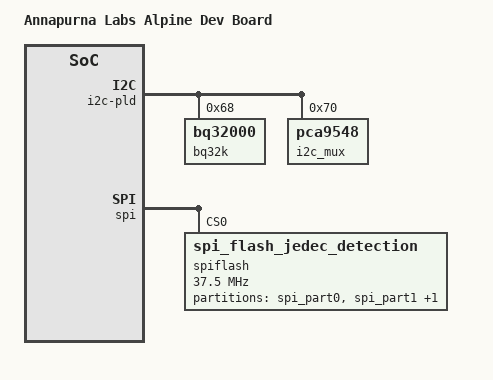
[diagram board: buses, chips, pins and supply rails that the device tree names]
/*
 * Copyright 2013 Annapurna Labs Ltd.
 *
 * This program is free software; you can redistribute it and/or modify it
 * under the terms and conditions of the GNU General Public License,
 * version 2, as published by the Free Software Foundation.
 *
 * This program is distributed in the hope it will be useful, but WITHOUT
 * ANY WARRANTY; without even the implied warranty of MERCHANTABILITY or
 * FITNESS FOR A PARTICULAR PURPOSE.  See the GNU General Public License for
 * more details.
 *
 * You should have received a copy of the GNU General Public License along with
 * this program.  If not, see <http://www.gnu.org/licenses/>.
 */

/dts-v1/;

/include/ "alpine.dtsi"

/ {
	version = "2.5";
	model = "Annapurna Labs Alpine Dev Board";

	hypervisor {
	};

	soc {
		board-cfg {
			id = "alpine_db (2xSATA)";

			/* U-Boot offset in boot source [bytes] */
			u-boot-offset = <0x20000>;

			/*
			 * Some of the PBS bus controllers have dedicated pins,
			 * however most of the pins are Multi-usage I/Os (MUIO),
			 * thus enabling flexible usage.
			 * Refer to the specific chip datasheet for further details.
			 *
			 * Choose which interfaces are to be multiplexed:
			 * - &if_nand_8 - NAND
			 * - &if_nand_cs_0, ..., &if_nand_cs_3 - NAND CS 0..3
			 * - &if_nand_wp - NAND WP
			 * - &if_sata_0_leds, &if_sata_1_leds - SATA leds
			 * - &if_eth_leds - Ethernet leds
			 * - &if_uart_1, ..., &if_uart_3 - UART 1..3
			 * - &if_i2c_gen - secondary I2C conrtoller
			 * - &if_ulpi_0_rst_n - ULPI reset
			 * - &if_pci_ep_int_a - PCIe EP interrupt
			 * - &if_pci_ep_reset_out - PCIe EP reset out
			 * - &if_spim_a_ss_1, ..., &if_spim_a_ss_3 - SPI CS 1..3
			 */
			pinctrl_init {
				pinctrl-0 = <
					&if_nand_8
					&if_nand_cs_0
					&if_sata_1_leds
					&if_eth_leds
					&if_uart_1>;
			};

			/*
			 * Initial GPIO configuration - which pins are input,
			 * which are output, and what is the initial value for
			 * output pins.
			 * By default, GPIO pins that are not listed below are
			 * input pins.
			 * GPIO pins which are listed below are automatically
			 * multiplexed and should not conflict with the
			 * multiplexed interfaces listed in 'pinctrl_init'
			 * above.
			 */
			gpio_init {
				/* <
				 * GPIO num 1, is output, output value
				 * GPIO num 2, is output, output value
				 * ...
				 * GPIO num N, is output, output value
				 * >
				 */
				gpio-list = <
					/* Inputs */
					0 0 0 /* UART 1,2,3 module inserted */
					32 0 0 /* PCIE0 present */
					33 0 0 /* PCIE1_present */
					34 0 0 /* PCIE2SATA not present */
					35 0 0 /* SFP 0,1 absent */
					36 0 0 /* SFP 2,3 absent */
					37 0 0 /* External ETH PHY interrupt */

					/* Outputs */
					1 1 0 /* Debug led 0 */
					2 1 1 /* Debug led 1 */
					3 1 1 /* ULPI 0 RST_N */
					5 1 0 /* Preloader EEPROM enable */
					38 1 1 /* PCI RSTN */
					39 1 1 /* SFP ON */
					40 1 0 /* External ETH PHY A reset */
					41 1 0 /* External ETH PHY B reset */
					42 1 1 /* VDD DRAM 1: 1.5V, 0: 1.35V */
					43 1 0 /* VTT OFF */
				>;
			};

			/* SerDes initialization configuration */
			serdes {
				/*
				 * 'ref-clock' can be any of the following:
				 * - "100Mhz-internal" - 100 Mhz internal clock
				 * - "100Mhz" - 100 Mhz on-board clock
				 * - "156.25Mhz" - 156.25 Mhz on-board clock
				 * - "right" - Clock is routed from right group
				 *             - assuming the right group has
				 *               on-board clock
				 *             - assuming 3 <> 2 <> 1 <> 0
				 * - "left" - Clock is routed from left group
				 *            - assuming the left group has
				 *              on-board clock
				 *            - assuming 3 <> 2 <> 1 <> 0
				 *
				 * 'active-lanes' selects which lanes are active
				 * e.g. <0 1 2 3>, <0 1>, etc.
				 *
				 * 'inv-tx-lanes' selects which lanes have their
				 * Tx polarity inverted (+/-)
				 * e.g. <0 1 2 3>, <0 1>, etc.
				 *
				 * 'inv-rx-lanes' selects which lanes have their
				 * Rx polarity inverted (+/-)
				 * e.g. <0 1 2 3>, <0 1>, etc.
				 *
				 * 'ssc' - SSC (spread spectrum clock)
				 * - "enabled" or "disabled"
				 * - Relevant only for 'interface' = 'sata'
				 *
				 * group 0:
				 * 'interface' can be any of the following:
				 * - "off" - no interface on this group
				 * - "off_bp" - no interface on this group, but
				 *              r2l/l2r clocks are bypassed
				 * - "pcie_g2x2_usb" - PCIe gen 2 x2 + USB
				 * - "pcie_g2x2_pcie_g2x2" - 2xPCIe gen 2 x2
				 * - "pcie_g3x4" - PCIe gen 3 x4
				 *
				 * group 1:
				 * 'interface' can be any of the following:
				 * - "off" - no interface on this group
				 * - "off_bp" - no interface on this group, but
				 *              r2l/l2r clocks are bypassed
				 * - "pcie_g3x4" - PCIe gen 3 x4
				 * - "sata" - SATA (up to 4 ports)
				 *
				 * group 2:
				 * 'interface' can be any of the following:
				 * - "off" - no interface on this group
				 * - "off_bp" - no interface on this group, but
				 *              r2l/l2r clocks are bypassed
				 * - "pcie_g3x4" - PCIe gen 3 x4
				 * - "sata" - SATA (up to 4 ports)
				 *
				 * group 3:
				 * 'interface' can be any of the following:
				 * - "off" - no interface on this group
				 * - "off_bp" - no interface on this group, but
				 *              r2l/l2r clocks are bypassed
				 * - "pcie_g2x2_usb" - PCIe gen 2 x2 + USB
				 * - "sgmii" - SGMII (up to 4 ports)
				 * - "sgmii-2.5g" - SGMII 2.5G (up to 4 ports)
				 * - "10gbe" - 10GbE (up to 4 ports)
				 */

				group0 {
					interface = "pcie_g3x4";
					ref-clock = "100Mhz";
					active-lanes = <0 1 2 3>;
					inv-tx-lanes = <>;
					inv-rx-lanes = <>;
					ssc = "disabled";

					lane_0_params {
						rx { override = "disabled"; };
						tx { override = "disabled"; };
					};
					lane_1_params {
						rx { override = "disabled"; };
						tx { override = "disabled"; };
					};
					lane_2_params {
						rx { override = "disabled"; };
						tx { override = "disabled"; };
					};
					lane_3_params {
						rx { override = "disabled"; };
						tx { override = "disabled"; };
					};
				};

				group1 {
					interface = "sata";
					ref-clock = "100Mhz";
					active-lanes = <0 1 2 3>;
					inv-tx-lanes = <>;
					inv-rx-lanes = <>;
					ssc = "disabled";

					lane_0_params {
						rx {
							override = "enabled";
							dcgain = <0x0>;
							dfe_3db_freq = <0x7>;
							dfe_gain = <0x0>;
							dfe_1st_tap_ctrl = <0x0>;
							dfe_2nd_tap_ctrl = <0x8>;
							dfe_3rd_tap_ctrl = <0x0>;
							dfe_4th_tap_ctrl = <0x8>;
							low_freq_agc_gain = <0x7>;
							high_freq_agc_boost = <0x0>;
							precal_code_sel = <0x0>;
						};
						tx {
							override = "enabled";
							amp = <1>;
							total_driver_units = <19>;
							post_emph = <2>;
							pre_emph = <0>;
							slew_rate = <0>;
						};
					};
					lane_1_params {
						rx {
							override = "enabled";
							dcgain = <0x0>;
							dfe_3db_freq = <0x7>;
							dfe_gain = <0x0>;
							dfe_1st_tap_ctrl = <0x0>;
							dfe_2nd_tap_ctrl = <0x8>;
							dfe_3rd_tap_ctrl = <0x0>;
							dfe_4th_tap_ctrl = <0x8>;
							low_freq_agc_gain = <0x7>;
							high_freq_agc_boost = <0x0>;
							precal_code_sel = <0x0>;
						};
						tx {
							override = "enabled";
							amp = <1>;
							total_driver_units = <19>;
							post_emph = <2>;
							pre_emph = <0>;
							slew_rate = <0>;
						};
					};
					lane_2_params {
						rx {
							override = "enabled";
							dcgain = <0x0>;
							dfe_3db_freq = <0x7>;
							dfe_gain = <0x0>;
							dfe_1st_tap_ctrl = <0x0>;
							dfe_2nd_tap_ctrl = <0x8>;
							dfe_3rd_tap_ctrl = <0x0>;
							dfe_4th_tap_ctrl = <0x8>;
							low_freq_agc_gain = <0x7>;
							high_freq_agc_boost = <0x0>;
							precal_code_sel = <0x0>;
						};
						tx {
							override = "enabled";
							amp = <1>;
							total_driver_units = <19>;
							post_emph = <2>;
							pre_emph = <0>;
							slew_rate = <0>;
						};
					};
					lane_3_params {
						rx {
							override = "enabled";
							dcgain = <0x0>;
							dfe_3db_freq = <0x7>;
							dfe_gain = <0x0>;
							dfe_1st_tap_ctrl = <0x0>;
							dfe_2nd_tap_ctrl = <0x8>;
							dfe_3rd_tap_ctrl = <0x0>;
							dfe_4th_tap_ctrl = <0x8>;
							low_freq_agc_gain = <0x7>;
							high_freq_agc_boost = <0x0>;
							precal_code_sel = <0x0>;
						};
						tx {
							override = "enabled";
							amp = <1>;
							total_driver_units = <19>;
							post_emph = <2>;
							pre_emph = <0>;
							slew_rate = <0>;
						};
					};
				};

				group2 {
					interface = "sata";
					ref-clock = "100Mhz";
					active-lanes = <0 1 2 3>;
					inv-tx-lanes = <>;
					inv-rx-lanes = <>;
					ssc = "disabled";

					lane_0_params {
						rx {
							override = "enabled";
							dcgain = <0x0>;
							dfe_3db_freq = <0x7>;
							dfe_gain = <0x0>;
							dfe_1st_tap_ctrl = <0x0>;
							dfe_2nd_tap_ctrl = <0x8>;
							dfe_3rd_tap_ctrl = <0x0>;
							dfe_4th_tap_ctrl = <0x8>;
							low_freq_agc_gain = <0x7>;
							high_freq_agc_boost = <0x0>;
							precal_code_sel = <0x0>;
						};

						tx {
							override = "enabled";
							amp = <1>;
							total_driver_units = <19>;
							post_emph = <2>;
							pre_emph = <0>;
							slew_rate = <0>;
						};
					};
					lane_1_params {
						rx {
							override = "enabled";
							dcgain = <0x0>;
							dfe_3db_freq = <0x7>;
							dfe_gain = <0x0>;
							dfe_1st_tap_ctrl = <0x0>;
							dfe_2nd_tap_ctrl = <0x8>;
							dfe_3rd_tap_ctrl = <0x0>;
							dfe_4th_tap_ctrl = <0x8>;
							low_freq_agc_gain = <0x7>;
							high_freq_agc_boost = <0x0>;
							precal_code_sel = <0x0>;
						};

						tx {
							override = "enabled";
							amp = <1>;
							total_driver_units = <19>;
							post_emph = <2>;
							pre_emph = <0>;
							slew_rate = <0>;
						};
					};
					lane_2_params {
						rx {
							override = "enabled";
							dcgain = <0x0>;
							dfe_3db_freq = <0x7>;
							dfe_gain = <0x0>;
							dfe_1st_tap_ctrl = <0x0>;
							dfe_2nd_tap_ctrl = <0x8>;
							dfe_3rd_tap_ctrl = <0x0>;
							dfe_4th_tap_ctrl = <0x8>;
							low_freq_agc_gain = <0x7>;
							high_freq_agc_boost = <0x0>;
							precal_code_sel = <0x0>;
						};

						tx {
							override = "enabled";
							amp = <1>;
							total_driver_units = <19>;
							post_emph = <2>;
							pre_emph = <0>;
							slew_rate = <0>;
						};
					};
					lane_3_params {
						rx {
							override = "enabled";
							dcgain = <0x0>;
							dfe_3db_freq = <0x7>;
							dfe_gain = <0x0>;
							dfe_1st_tap_ctrl = <0x0>;
							dfe_2nd_tap_ctrl = <0x8>;
							dfe_3rd_tap_ctrl = <0x0>;
							dfe_4th_tap_ctrl = <0x8>;
							low_freq_agc_gain = <0x7>;
							high_freq_agc_boost = <0x0>;
							precal_code_sel = <0x0>;
						};

						tx {
							override = "enabled";
							amp = <1>;
							total_driver_units = <19>;
							post_emph = <2>;
							pre_emph = <0>;
							slew_rate = <0>;
						};
					};
				};

				group3 {
					interface = "10gbe";
					ref-clock = "156.25Mhz";
					active-lanes = <1 3>;
					inv-tx-lanes = <>;
					inv-rx-lanes = <>;
					ssc = "disabled";

					lane_0_params {
						rx { override = "disabled"; };
						tx { override = "disabled"; };
					};
					lane_1_params {
						rx { override = "disabled"; };
						tx { override = "disabled"; };
					};
					lane_2_params {
						rx { override = "disabled"; };
						tx { override = "disabled"; };
					};
					lane_3_params {
						rx { override = "disabled"; };
						tx { override = "disabled"; };
					};
				};
			};

			/* Ethernet port configuration */
			ethernet {
				port0 {
					status = "enabled";

					/*
					 * MAC mode (rgmii, sgmii, sgmii-2.5g, 1g-serial, 10g-serial, auto-detect, auto-detect-auto-speed)
					 * - auto-detect mode is relevant when SFP exists. in this mode
					 * SFP EEPROM will be read to detect what SFP inserted
					 * - auto-detect-auto-speed mode is relevant when SFP exists and
					 * the SerDes reference clock frequency is 156.25Mhz. In this
					 * mode SFP EEPROM will be read to detect what SFP inserted while
					 * 10G serial and 1G serial SFP modeuls can be exchanged on-the-fly
					 * as long as all active SerDes based Ethernet ports use the same
					 * mode.
					 */
					mode = "auto-detect-auto-speed";

					/*
					 * I2C bus ID as shows in Linux I2C bus enumeration:
					 * When using I2C_A and I2C Mux is connected to I2C_A, Linux enumerates multiple I2C buses:
					 * - I2C bus 0 is the physical bus
					 * - I2C bus 1 is channel 0 of the mux
					 * - I2C bus 2 is channel 1 of the mux
					 * - ...
					 * Relevant when MAC mode is auto-detect or when phy_type is i2c
					 */
					i2c-id = <1>; /* I2C Mux Channel 0 */

					10g-serial {
						/*
						 * in case of 10g-serial mode indicate
						 * if passive DAC (direct attached cable) are used
						 * and what is the length (in meters) of it.
						 * in case of active DAC the parameter should be
						 * set to disable.
						 * in auto-detect mode will be the default value
						 * in case the SFP EEPROM can't be accessed
						 */
						dac = "enabled";
						dac-length = <3>;
						auto-neg = "disabled";
						link-training = "disabled";
						fec = "disabled";
					};

					retimer {
						exist = "disabled";
						/*
						* I2C bus ID of the retimer as shows in Linux I2C bus enumeration:
						* When using I2C_A and I2C Mux is connected to I2C_A,
						* Linux enumerates multiple I2C buses:
						* - I2C bus 0 is the physical bus
						* - I2C bus 1 is channel 0 of the mux
						* - I2C bus 2 is channel 1 of the mux
						* - ...
						*/
						i2c-bus = <0>;
						i2c-addr = <97>;
						channel = "B";
					};

				};

				port1 {
					status = "enabled";

					/*
					 * MAC mode (rgmii, sgmii, sgmii-2.5g, 1g-serial, 10g-serial, auto-detect, auto-detect-auto-speed)
					 * - auto-detect mode is relevant when SFP exists. in this mode
					 * SFP EEPROM will be read to detect what SFP inserted
					 * - auto-detect-auto-speed mode is relevant when SFP exists and
					 * the SerDes reference clock frequency is 156.25Mhz. In this
					 * mode SFP EEPROM will be read to detect what SFP inserted while
					 * 10G serial and 1G serial SFP modeuls can be exchanged on-the-fly
					 * as long as all active SerDes based Ethernet ports use the same
					 * mode.
					 */
					mode = "rgmii";

					ext_phy {
						/* PHY management interface type (mdc-mdio, xmdc-xmdio, i2c) */
						phy_mgmt_if = "mdc-mdio";
						/* in case the interface is i2c phy-addr is the
						 * 5 lowest bits of the i2c address*/
						phy-addr = <4>;
						/*
						 * MDC-MDIO frequency:
						 * - "2.5Mhz"
						 * - "1.0Mhz"
						 */
						mdc-mdio-freq = "1.0Mhz";
						/* auto negotiation (in-band, out-of-band)*/
						auto-neg-mode="out-of-band";
					};
				};

				port2 {
					status = "enabled";

					/*
					 * MAC mode (rgmii, sgmii, sgmii-2.5g, 1g-serial, 10g-serial, auto-detect, auto-detect-auto-speed)
					 * - auto-detect mode is relevant when SFP exists. in this mode
					 * SFP EEPROM will be read to detect what SFP inserted
					 * - auto-detect-auto-speed mode is relevant when SFP exists and
					 * the SerDes reference clock frequency is 156.25Mhz. In this
					 * mode SFP EEPROM will be read to detect what SFP inserted while
					 * 10G serial and 1G serial SFP modeuls can be exchanged on-the-fly
					 * as long as all active SerDes based Ethernet ports use the same
					 * mode.
					 */
					mode = "auto-detect-auto-speed";

					/*
					 * I2C bus ID as shows in Linux I2C bus enumeration:
					 * When using I2C_A and I2C Mux is connected to I2C_A, Linux enumerates multiple I2C buses:
					 * - I2C bus 0 is the physical bus
					 * - I2C bus 1 is channel 0 of the mux
					 * - I2C bus 2 is channel 1 of the mux
					 * - ...
					 * Relevant when MAC mode is auto-detect or when phy_type is i2c
					 */
					i2c-id = <3>; /* I2C Mux Channel 2 */

					10g-serial {
						/*
						 * in case of 10g-serial mode indicate
						 * if passive DAC (direct attached cable) are used
						 * and what is the length (in meters) of it.
						 * in case of active DAC the parameter should be
						 * set to disable.
						 * in auto-detect mode will be the default value
						 * in case the SFP EEPROM can't be accessed
						 */
						dac = "enabled";
						dac-length = <3>;
						auto-neg = "disabled";
						link-training = "disabled";
						fec = "disabled";
					};

					retimer {
						exist = "disabled";
						/*
						* I2C bus ID of the retimer as shows in Linux I2C bus enumeration:
						* When using I2C_A and I2C Mux is connected to I2C_A,
						* Linux enumerates multiple I2C buses:
						* - I2C bus 0 is the physical bus
						* - I2C bus 1 is channel 0 of the mux
						* - I2C bus 2 is channel 1 of the mux
						* - ...
						*/
						i2c-bus = <0>;
						i2c-addr = <97>;
						channel = "B";
					};
				};

				port3 {
					status = "enabled";

					/*
					 * MAC mode (rgmii, sgmii, sgmii-2.5g, 1g-serial, 10g-serial, auto-detect, auto-detect-auto-speed)
					 * - auto-detect mode is relevant when SFP exists. in this mode
					 * SFP EEPROM will be read to detect what SFP inserted
					 * - auto-detect-auto-speed mode is relevant when SFP exists and
					 * the SerDes reference clock frequency is 156.25Mhz. In this
					 * mode SFP EEPROM will be read to detect what SFP inserted while
					 * 10G serial and 1G serial SFP modeuls can be exchanged on-the-fly
					 * as long as all active SerDes based Ethernet ports use the same
					 * mode.
					 */
					mode = "rgmii";
					ext_phy {
						/* PHY management interface type (mdc-mdio, xmdc-xmdio, i2c) */
						phy_mgmt_if = "mdc-mdio";
						/* in case the interface is i2c phy-addr is the
						 * 5 lowest bits of the i2c address*/
						phy-addr = <5>;
						/*
						 * MDC-MDIO frequency:
						 * - "2.5Mhz"
						 * - "1.0Mhz"
						 */
						mdc-mdio-freq = "1.0Mhz";
						/* auto negotiation (in-band, out-of-band)*/
						auto-neg-mode="out-of-band";
					};
				};
			};

			/* PCIe port configuration */
			pcie {
				/*
				 * Selects which ports are used as end-point
				 * ports, e.g. <0>.
				 */
				ep-ports = <>;

				/* Port 0 status, speed, and number of lanes */
				port0 {
					status = "enabled";
					gen = <3>;
					width = <4>;
				};

				/* Port 1 status, speed, and number of lanes */
				port1 {
					status = "disabled";
					gen = <3>;
					width = <4>;
				};

				/* Port 2 status, speed, and number of lanes */
				port2 {
					status = "disabled";
					gen = <3>;
					width = <4>;
				};
			};
		};

		/* pmu { status = "disabled"; }; */
		arch-timer { compatible = "disabled"; };
		/* timer0 { status = "disabled"; }; */
		/* timer1 { status = "disabled"; }; */
		timer2 { status = "disabled"; };
		timer3 { status = "disabled"; };
		wdt1 { status = "disabled"; };
		wdt2 { status = "disabled"; };
		wdt3 { status = "disabled"; };
		/* i2c-pld  { status = "disabled"; }; */
		/* spi { status = "disabled"; }; */
		i2c-gen  { status = "disabled"; };
		/* gpio0 { status = "disabled"; }; */
		/* gpio1 { status = "disabled"; }; */
		/* gpio2 { status = "disabled"; }; */
		/* gpio3 { status = "disabled"; }; */
		/* gpio4 { status = "disabled"; }; */
		/* gpio5 { status = "disabled"; }; */
		/*uart0 { status = "disabled"; };*/
		/*uart1 { status = "disabled"; };*/
		uart2 { status = "disabled"; };
		uart3 { status = "disabled"; };
		nor_flash { status = "disabled"; };
		/* nand-flash { status = "disabled"; }; */
		/* al-fabric { status = "disabled"; }; */
		/* pcie-internal { status = "disabled"; }; */
		/* pcie-external0 { status = "disabled"; }; */
		/* pcie-external1 { status = "disabled"; }; */
		/* pcie-external2 { status = "disabled"; }; */
		nand-flash {
			#address-cells = <1>;
			#size-cells = <1>;

			max-onfi-timing-mode = <1>;

			partition@0 {
				label = "al_boot";
				reg = <0x00000000 0x00200000>;
			};
			partition@1 {
				label = "device_tree";
				reg = <0x00200000 0x00100000>;
			};
			partition@2 {
				label = "linux_kernel";
				reg = <0x00300000 0x00d00000>;
			};
			partition@3 {
				label = "ubifs";
				reg = <0x01000000 0x03f000000>;
			};
		};

		i2c-pld  {
			#address-cells = <1>;
			#size-cells = <0>;

			bq32k@68 {
				compatible = "bq32000";
				reg = <0x68>;
			};

			i2c_mux@70 {
				compatible = "pca9548";
				reg = <0x70>;
			};
		};

		spi {
			/* cs-gpios = <&gpio0 4 0>; */

			spiflash@0 {
				#address-cells = <1>;
				#size-cells = <1>;
				compatible = "spi_flash_jedec_detection";
				spi-max-frequency = <37500000>; /* 37.5MHz */
				reg = <0>;

				partition@0 {
					reg = <0x0 0x00200000>; /* 2MB */
					label = "spi_part0";
				};

				partition@1 {
					reg = <0x00200000 0x00200000>; /* 2MB */
					label = "spi_part1";
				};

				partition@2 {
					reg = <0x00400000 0x00C00000>; /* 12MB */
					label = "spi_part2";
				};
			};
		};

		/* SATA SW controlled leds, use gpio 1 for port 0 host 1, and gpio 2 for port 1 host 1 */
		/* host 1 pci address is domain 0, bus 0, device (slot) 9 */
		/* uncomment the below node in order to enable */
		/*
		sata_sw_leds {
			compatible = "annapurna-labs,al-sata-sw-leds";
			led@0 {
				label = "host 1, port 0 activity&presence led";
				pci_domain = <0>;
				pci_bus = <0>;
				pci_dev = <9>;
				port = <0>;
				gpios =<&gpio0 1 0>;
			};
			led@1 {
				label = "host 1, port 1 activity&presence led";
				pci_domain = <0>;
				pci_bus = <0>;
				pci_dev = <9>;
				port = <1>;
				gpios =<&gpio0 2 0>;
			};
		};
		*/
	};
};
